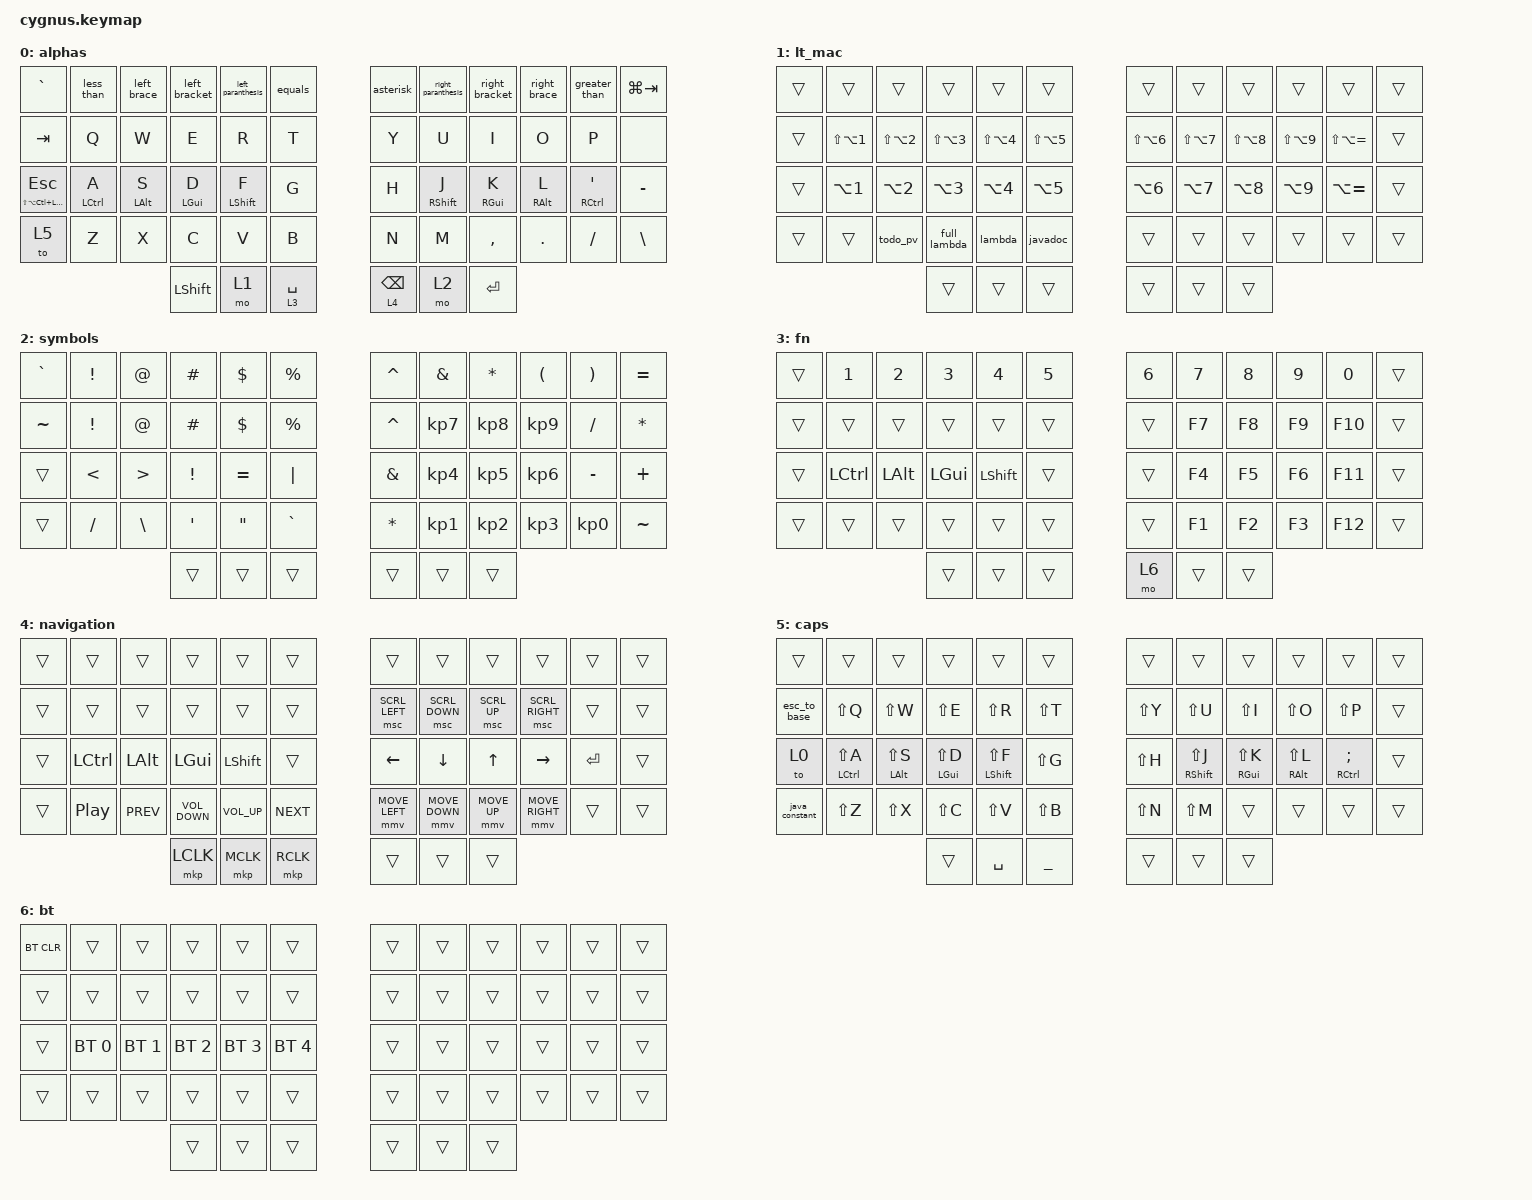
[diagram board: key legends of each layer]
#include <behaviors.dtsi>
#include <dt-bindings/zmk/bt.h>
#include <dt-bindings/zmk/keys.h>
#include <dt-bindings/zmk/pointing.h>

/ {
    combos {
        compatible = "zmk,combos";

        copy {
            bindings = <&kp LG(C)>;
            key-positions = <38 39>;
            require-prior-idle-ms = <200>;
            layers = <0 1 2 3 4 5>;
        };

        paste {
            bindings = <&kp LG(V)>;
            key-positions = <38 40>;
            require-prior-idle-ms = <200>;
            layers = <0 1 2 3 4 5>;
        };

        screenshot {
            bindings = <&kp LG(LA(C))>;
            key-positions = <38 39 40>;
            require-prior-idle-ms = <200>;
            layers = <0 1 2 3 4>;
        };

        enter {
            bindings = <&kp ENTER>;
            key-positions = <31 32 33>;
            require-prior-idle-ms = <200>;
            layers = <0 1 2 3 4 5>;
        };

        tab {
            bindings = <&kp TAB>;
            key-positions = <28 27 26>;
            require-prior-idle-ms = <200>;
            layers = <0 1 2 3 4 5>;
        };

        lambda {
            bindings = <&lambda>;
            key-positions = <3 2>;
            require-prior-idle-ms = <200>;
            layers = <0 1 2 3 4 5>;
        };

        full_lambda {
            bindings = <&full_lambda>;
            key-positions = <8 9>;
            require-prior-idle-ms = <200>;
            layers = <0 1 2 3 4 5>;
        };

        undo {
            bindings = <&kp LG(Z)>;
            key-positions = <29 28>;
            require-prior-idle-ms = <200>;
            layers = <0 1 2 3 4 5>;
        };

        redo {
            bindings = <&kp LG(LS(Z))>;
            key-positions = <30 31>;
            require-prior-idle-ms = <200>;
            layers = <0 1 2 3 4 5>;
        };

        caret {
            bindings = <&kp CARET>;
            key-positions = <1 2>;
            layers = <0>;
        };

        full_paranthesis {
            bindings = <&full_paranthesis>;
            key-positions = <4 7>;
            layers = <0>;
        };

        full_bracket {
            bindings = <&full_brackets>;
            key-positions = <8 3>;
        };

        full_braces {
            bindings = <&full_braces>;
            key-positions = <2 9>;
        };

        full_less_greater {
            bindings = <&full_less_greater>;
            key-positions = <1 10>;
        };

        semicolon {
            bindings = <&kp SEMICOLON>;
            key-positions = <44 45>;
        };
    };

    behaviors {
        ht_hyper: hold_tap_hyper {
            compatible = "zmk,behavior-hold-tap";
            bindings = <&kp>, <&kp>;

            #binding-cells = <2>;
            tapping-term-ms = <200>;
            quick-tap-ms = <125>;
            require-prior-idle-ms = <70>;
        };

        hrm_left: home_row_left {
            compatible = "zmk,behavior-hold-tap";
            bindings = <&kp>, <&kp>;

            #binding-cells = <2>;
            tapping-term-ms = <200>;
            quick-tap-ms = <300>;
            require-prior-idle-ms = <0>;
            flavor = "balanced";
            hold-trigger-key-positions = <48 49 50 6 7 8 9 10 11 18 19 20 21 22 23 30 31 32 33 34 35 42 43 44 45 46 47 51 52 53>;
        };

        hrm_right: home_row_right {
            compatible = "zmk,behavior-hold-tap";
            bindings = <&kp>, <&kp>;

            #binding-cells = <2>;
            tapping-term-ms = <200>;
            quick-tap-ms = <300>;
            require-prior-idle-ms = <0>;
            flavor = "balanced";
            hold-trigger-key-positions = <53 52 51 0 1 2 3 4 5 12 13 14 15 16 17 24 25 26 27 28 29 36 37 38 39 40 41 48 49 50>;
        };

        left_paran_less: left_paran_less {
            compatible = "zmk,behavior-mod-morph";
            label = "LEFT_PARAN_LESS";
            bindings = <&kp LEFT_PARENTHESIS>, <&kp LESS_THAN>;

            #binding-cells = <0>;
            mods = <(MOD_LSFT|MOD_RSFT)>;
        };

        right_paran_less: right_paran_less {
            compatible = "zmk,behavior-mod-morph";
            label = "RIGHT_PARAN_LESS";
            bindings = <&kp RIGHT_PARENTHESIS>, <&kp GREATER_THAN>;

            #binding-cells = <0>;
            mods = <(MOD_LSFT|MOD_RSFT)>;
        };

        td_tilde: td_tilde {
            compatible = "zmk,behavior-tap-dance";
            label = "TD_TILDE";
            #binding-cells = <0>;
            bindings = <&kp GRAVE>, <&kp TILDE>;
        };

        td_less_than: td_less_than {
            compatible = "zmk,behavior-tap-dance";
            label = "TD_LESS_THAN";
            #binding-cells = <0>;
            bindings = <&kp LESS_THAN>, <&kp EXCLAMATION>;
        };

        td_l_brace: td_l_brace {
            compatible = "zmk,behavior-tap-dance";
            label = "TD_L_BRACE";
            #binding-cells = <0>;
            bindings = <&kp LEFT_BRACE>, <&kp AT>;
        };

        td_l_bracket: td_l_bracket {
            compatible = "zmk,behavior-tap-dance";
            label = "TD_L_BRACKET";
            #binding-cells = <0>;
            bindings = <&kp LEFT_BRACKET>, <&kp HASH>;
        };

        td_l_paranthesis: td_l_paranthesis {
            compatible = "zmk,behavior-tap-dance";
            label = "TD_L_PARANTHESIS";
            #binding-cells = <0>;
            bindings = <&kp LEFT_PARENTHESIS>, <&kp DOLLAR>;
        };

        td_equals: td_equals {
            compatible = "zmk,behavior-tap-dance";
            label = "TD_EQUALS";
            #binding-cells = <0>;
            bindings = <&kp EQUAL>, <&kp PERCENT>;
        };

        td_asterisk: td_asterisk {
            compatible = "zmk,behavior-tap-dance";
            label = "TD_ASTERISK";
            #binding-cells = <0>;
            bindings = <&kp ASTERISK>, <&kp CARET>;
        };

        td_r_paranthesis: td_r_paranthesis {
            compatible = "zmk,behavior-tap-dance";
            label = "TD_R_PARANTHESIS";
            #binding-cells = <0>;
            bindings = <&kp RIGHT_PARENTHESIS>, <&kp AMPERSAND>;
        };

        td_r_bracket: td_r_bracket {
            compatible = "zmk,behavior-tap-dance";
            label = "TD_R_BRACKET";
            #binding-cells = <0>;
            bindings = <&kp RIGHT_BRACKET>, <&kp ASTERISK>;
        };

        td_r_brace: td_r_brace {
            compatible = "zmk,behavior-tap-dance";
            label = "TD_R_BRACE";
            #binding-cells = <0>;
            bindings = <&kp RIGHT_BRACE>, <&todo_pv>;
        };

        td_greater_than: td_greater_than {
            compatible = "zmk,behavior-tap-dance";
            label = "TD_GREATER_THAN";
            #binding-cells = <0>;
            bindings = <&kp GREATER_THAN>, <&javadoc>;
        };

        less_than: less_than {
            compatible = "zmk,behavior-mod-morph";
            label = "LESS_THAN";
            bindings = <&kp LESS_THAN>, <&kp EXCLAMATION>;

            #binding-cells = <0>;
            mods = <(MOD_LSFT|MOD_RSFT)>;
        };

        left_brace: left_brace {
            compatible = "zmk,behavior-mod-morph";
            label = "LEFT_BRACE";
            bindings = <&kp LEFT_BRACE>, <&kp AT_SIGN>;

            #binding-cells = <0>;
            mods = <(MOD_LSFT|MOD_RSFT)>;
        };

        left_bracket: left_bracket {
            compatible = "zmk,behavior-mod-morph";
            label = "LEFT_BRACKET";
            bindings = <&kp LEFT_BRACKET>, <&kp HASH>;

            #binding-cells = <0>;
            mods = <(MOD_LSFT|MOD_RSFT)>;
        };

        left_paranthesis: left_paranthesis {
            compatible = "zmk,behavior-mod-morph";
            label = "LEFT_PARANTHESIS";
            bindings = <&kp LEFT_PARENTHESIS>, <&kp DOLLAR>;

            #binding-cells = <0>;
            mods = <(MOD_LSFT|MOD_RSFT)>;
        };

        equals: equals {
            compatible = "zmk,behavior-mod-morph";
            label = "EQUALS";
            bindings = <&kp EQUAL>, <&kp PERCENT>;

            #binding-cells = <0>;
            mods = <(MOD_LSFT|MOD_RSFT)>;
        };

        asterisk: asterisk {
            compatible = "zmk,behavior-mod-morph";
            label = "ASTERISK";
            bindings = <&kp ASTERISK>, <&kp CARET>;

            #binding-cells = <0>;
            mods = <(MOD_LSFT|MOD_RSFT)>;
        };

        right_paranthesis: right_paranthesis {
            compatible = "zmk,behavior-mod-morph";
            label = "RIGHT_PARANTHESIS";
            bindings = <&kp RIGHT_PARENTHESIS>, <&kp AMPERSAND>;

            #binding-cells = <0>;
            mods = <(MOD_LSFT|MOD_RSFT)>;
        };

        right_bracket: right_bracket {
            compatible = "zmk,behavior-mod-morph";
            label = "RIGHT_BRACKET";
            bindings = <&kp RIGHT_BRACKET>, <&kp ASTERISK>;

            #binding-cells = <0>;
            mods = <(MOD_LSFT|MOD_RSFT)>;
        };

        right_brace: right_brace {
            compatible = "zmk,behavior-mod-morph";
            label = "RIGHT_BRACE";
            bindings = <&kp RIGHT_BRACE>, <&todo_pv>;

            #binding-cells = <0>;
            mods = <(MOD_LSFT|MOD_RSFT)>;
        };

        greater_than: greater_than {
            compatible = "zmk,behavior-mod-morph";
            label = "GREATER_THAN";
            bindings = <&kp GREATER_THAN>, <&javadoc>;

            #binding-cells = <0>;
            mods = <(MOD_LSFT|MOD_RSFT)>;
        };
    };

    macros {
        esc_to_base: esc_to_base {
            compatible = "zmk,behavior-macro";
            #binding-cells = <0>;
            bindings = <&kp ESC &to 0>;
            label = "ESC_TO_BASE";
        };

        lambda: lambda {
            compatible = "zmk,behavior-macro";
            #binding-cells = <0>;
            bindings = <&kp SPACE &kp MINUS &kp GT &kp SPACE>;
            label = "LAMBDA";
        };

        full_lambda: full_lambda {
            compatible = "zmk,behavior-macro";
            #binding-cells = <0>;
            bindings =
                <&kp LPAR &kp RPAR &kp SPACE &kp MINUS &kp GT &kp SPACE &kp LBRC &kp RBRC>,
                <&macro_wait_time 30>,
                <&kp LEFT_ARROW &kp LEFT_ARROW &kp LEFT_ARROW &kp LEFT_ARROW &kp LEFT_ARROW &kp LEFT_ARROW &kp LEFT_ARROW>;

            label = "FULL_LAMBDA";
        };

        todo_pv: todo_pv {
            compatible = "zmk,behavior-macro";
            #binding-cells = <0>;
            bindings = <&kp FSLH &kp FSLH &kp SPACE &kp LS(T) &kp LS(O) &kp LS(D) &kp LS(O) &kp SPACE &kp LS(P) &kp LS(V) &kp COLON &kp SPACE>;
            label = "TODO_PV";
        };

        javadoc: javadoc {
            compatible = "zmk,behavior-macro";
            #binding-cells = <0>;
            bindings = <&kp FSLH &kp STAR &kp STAR &kp ENTER>;
            label = "JAVADOC";
        };

        java_constant: java_constant {
            compatible = "zmk,behavior-macro";
            #binding-cells = <0>;
            bindings = <&kp P &kp U &kp B &kp L &kp I &kp C &kp SPACE &kp S &kp T &kp A &kp T &kp I &kp C &kp SPACE &kp F &kp I &kp N &kp A &kp L &kp SPACE>;
            label = "JAVA_CONSTANT";
        };

        full_paranthesis: full_paranthesis {
            compatible = "zmk,behavior-macro";
            #binding-cells = <0>;
            bindings =
                <&kp LPAR &kp RPAR>,
                <&macro_wait_time 30>,
                <&kp LEFT_ARROW>;

            label = "FULL_PARANTHESIS";
        };

        full_brackets: full_brackets {
            compatible = "zmk,behavior-macro";
            #binding-cells = <0>;
            bindings =
                <&kp LEFT_BRACKET &kp RIGHT_BRACKET>,
                <&macro_wait_time 30>,
                <&kp LEFT_ARROW>;

            label = "FULL_BRACKETS";
        };

        full_braces: full_braces {
            compatible = "zmk,behavior-macro";
            #binding-cells = <0>;
            bindings =
                <&kp LEFT_BRACE &kp RIGHT_BRACE>,
                <&macro_wait_time 30>,
                <&kp LEFT_ARROW>;

            label = "FULL_BRACES";
        };

        full_less_greater: full_less_greater {
            compatible = "zmk,behavior-macro";
            #binding-cells = <0>;
            bindings =
                <&kp LESS_THAN &kp GREATER_THAN>,
                <&macro_wait_time 30>,
                <&kp LEFT_ARROW>;

            label = "FULL_LESS_GREATER";
        };
    };

    keymap {
        compatible = "zmk,keymap";

        alphas {
            // -----------------------------------------------------------------------------------------
            // |  ESC |  1  |  2  |  3  |  4  |  5  |   |  6  |  7   |  8  |  9  |  0  |  ?   |
            // |  TAB |  Q  |  W  |  E  |  R  |  T  |   |  Y  |  U   |  I  |  O  |  P  | BKSP |
            // | CTRL |  A  |  S  |  D  |  F  |  G  |   |  H  |  J   |  K  |  L  |  ;  |  '   |
            // | SHFT |  Z  |  X  |  C  |  V  |  B  |   |  N  |  M   |  ,  |  .  |  /  | ESC  |
            //                    | GUI | LWR | SPC |   | ENT | RSE  | ALT |

            bindings = <
&kp GRAVE                       &less_than         &left_brace       &left_bracket     &left_paranthesis   &equals        &asterisk        &right_paranthesis  &right_bracket     &right_brace       &greater_than                  &kp LG(TAB)
&kp TAB                         &kp Q              &kp W             &kp E             &kp R               &kp T          &kp Y            &kp U               &kp I              &kp O              &kp P                          &none
&ht_hyper LS(LA(LC(LGUI))) ESC  &hrm_left LCTRL A  &hrm_left LALT S  &hrm_left LGUI D  &hrm_left LSHIFT F  &kp G          &kp H            &hrm_right RSHFT J  &hrm_right RGUI K  &hrm_right RALT L  &hrm_right RCTRL SINGLE_QUOTE  &kp MINUS
&to 5                           &kp Z              &kp X             &kp C             &kp V               &kp B          &kp N            &kp M               &kp COMMA          &kp DOT            &kp SLASH                      &kp BACKSLASH
                                                                     &kp LEFT_SHIFT    &mo 1               &lt 3 SPACE    &lt 4 BACKSPACE  &mo 2               &kp ENTER
            >;
        };

        lt_mac {
            // -----------------------------------------------------------------------------------------
            // |  TAB |  F1 |  F2 |  F3 |  F4 |  F5 |   |  F6 |  F7 |  F8 |  F9 | F10 | BKSP |
            // |  TAB |  1  |  2  |  3  |  4  |  5  |   |  6  |  7  |  8  |  9  |  0  | BKSP |
            // | BTCLR| BT1 | BT2 | BT3 | BT4 | BT5 |   | LFT | DWN |  UP | RGT |     |      |
            // | SHFT |     |     |     |     |     |   |     |     |     |     |     |      |
            //                    | GUI |     | SPC |   | ENT |     | ALT |

            bindings = <
&trans  &trans                &trans                &trans                &trans                &trans            &trans          &trans          &trans          &trans          &trans             &trans
&trans  &kp LS(LA(NUMBER_1))  &kp LS(LA(NUMBER_2))  &kp LS(LA(NUMBER_3))  &kp LS(LA(NUMBER_4))  &kp LS(LA(N5))    &kp LS(LA(N6))  &kp LS(LA(N7))  &kp LS(LA(N8))  &kp LS(LA(N9))  &kp LS(LA(EQUAL))  &trans
&trans  &kp LA(N1)            &kp LA(N2)            &kp LA(N3)            &kp LA(N4)            &kp LA(N5)        &kp LA(N6)      &kp LA(N7)      &kp LA(N8)      &kp LA(N9)      &kp LA(EQUAL)      &trans
&trans  &trans                &todo_pv              &full_lambda          &lambda               &javadoc          &trans          &trans          &trans          &trans          &trans             &trans
                                                    &trans                &trans                &trans            &trans          &trans          &trans
            >;
        };

        symbols {
            // -----------------------------------------------------------------------------------------
            // |  TAB |  !  |  @  |  #  |  $  |  %  |   |  ^  |  &  |  *  |  (  |  )  | BKSP |
            // | CTRL |     |     |     |     |     |   |  -  |  =  |  [  |  ]  |  \  |  `   |
            // | SHFT |     |     |     |     |     |   |  _  |  +  |  {  |  }  | "|" |  ~   |
            //                    | GUI |     | SPC |   | ENT |     | ALT |

            bindings = <
&kp GRAVE  &kp EXCLAMATION  &kp AT_SIGN       &kp HASH          &kp DOLLAR         &kp PERCENT    &kp CARET      &kp AMPERSAND  &kp ASTERISK  &kp LEFT_PARENTHESIS  &kp RIGHT_PARENTHESIS  &kp EQUAL
&kp TILDE  &kp EXCL         &kp AT            &kp HASH          &kp DLLR           &kp PRCNT      &kp CARET      &kp KP_N7      &kp KP_N8     &kp KP_N9             &kp SLASH              &kp ASTERISK
&trans     &kp LESS_THAN    &kp GREATER_THAN  &kp EXCL          &kp EQUAL          &kp PIPE       &kp AMPERSAND  &kp KP_N4      &kp KP_N5     &kp KP_N6             &kp MINUS              &kp PLUS
&trans     &kp SLASH        &kp BACKSLASH     &kp SINGLE_QUOTE  &kp DOUBLE_QUOTES  &kp GRAVE      &kp ASTERISK   &kp KP_N1      &kp KP_N2     &kp KP_N3             &kp KP_N0              &kp TILDE
                                              &trans            &trans             &trans         &trans         &trans         &trans
            >;
        };

        fn {
            bindings = <
&trans  &kp N1     &kp N2    &kp N3    &kp N4     &kp N5    &kp N6  &kp N7  &kp N8  &kp N9  &kp N0   &trans
&trans  &trans     &trans    &trans    &trans     &trans    &trans  &kp F7  &kp F8  &kp F9  &kp F10  &trans
&trans  &kp LCTRL  &kp LALT  &kp LGUI  &kp LSHFT  &trans    &trans  &kp F4  &kp F5  &kp F6  &kp F11  &trans
&trans  &trans     &trans    &trans    &trans     &trans    &trans  &kp F1  &kp F2  &kp F3  &kp F12  &trans
                             &trans    &trans     &trans    &mo 6   &trans  &trans
            >;
        };

        navigation {
            bindings = <
&trans  &trans     &trans      &trans             &trans           &trans        &trans          &trans          &trans        &trans           &trans     &trans
&trans  &trans     &trans      &trans             &trans           &trans        &msc SCRL_LEFT  &msc SCRL_DOWN  &msc SCRL_UP  &msc SCRL_RIGHT  &trans     &trans
&trans  &kp LCTRL  &kp LALT    &kp LGUI           &kp LSHFT        &trans        &kp LEFT        &kp DOWN        &kp UP        &kp RIGHT        &kp ENTER  &trans
&trans  &kp C_PP   &kp C_PREV  &kp C_VOLUME_DOWN  &kp C_VOLUME_UP  &kp C_NEXT    &mmv MOVE_LEFT  &mmv MOVE_DOWN  &mmv MOVE_UP  &mmv MOVE_RIGHT  &trans     &trans
                               &mkp LCLK          &mkp MCLK        &mkp RCLK     &trans          &trans          &trans
            >;
        };

        caps {
            bindings = <
&trans          &trans                 &trans                    &trans                &trans                 &trans            &trans     &trans                  &trans                 &trans                 &trans                      &trans
&esc_to_base    &kp LS(Q)              &kp LS(W)                 &kp LS(E)             &kp LS(R)              &kp LS(T)         &kp LS(Y)  &kp LS(U)               &kp LS(I)              &kp LS(O)              &kp LS(P)                   &trans
&to 0           &hrm_left LCTRL LS(A)  &hrm_left LEFT_ALT LS(S)  &hrm_left LGUI LS(D)  &hrm_left LSHFT LS(F)  &kp LS(G)         &kp LS(H)  &hrm_right RSHFT LS(J)  &hrm_right RGUI LS(K)  &hrm_right RALT LS(L)  &hrm_right RCTRL SEMICOLON  &trans
&java_constant  &kp LS(Z)              &kp LS(X)                 &kp LS(C)             &kp LS(V)              &kp LS(B)         &kp LS(N)  &kp LS(M)               &trans                 &trans                 &trans                      &trans
                                                                 &trans                &kp SPACE              &kp UNDERSCORE    &trans     &trans                  &trans
            >;
        };

        bt {
            bindings = <
&bt BT_CLR  &trans        &trans        &trans        &trans        &trans          &trans  &trans  &trans  &trans  &trans  &trans
&trans      &trans        &trans        &trans        &trans        &trans          &trans  &trans  &trans  &trans  &trans  &trans
&trans      &bt BT_SEL 0  &bt BT_SEL 1  &bt BT_SEL 2  &bt BT_SEL 3  &bt BT_SEL 4    &trans  &trans  &trans  &trans  &trans  &trans
&trans      &trans        &trans        &trans        &trans        &trans          &trans  &trans  &trans  &trans  &trans  &trans
                                        &trans        &trans        &trans          &trans  &trans  &trans
            >;
        };
    };
};
